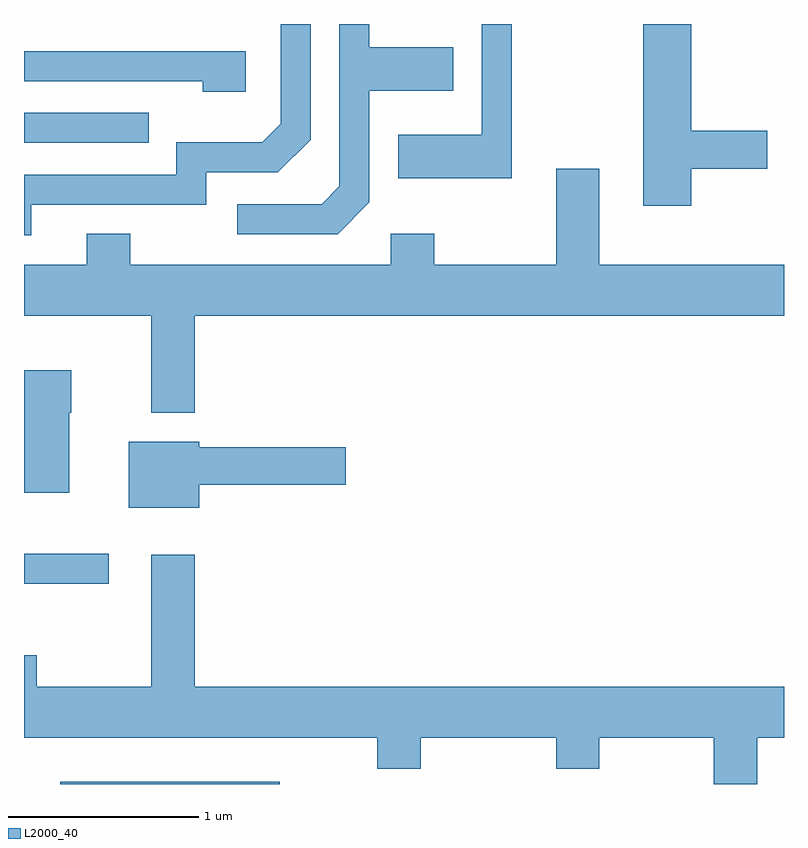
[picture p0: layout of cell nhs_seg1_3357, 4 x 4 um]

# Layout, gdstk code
import gdstk
lib = gdstk.Library(unit=1e-6, precision=1e-09)
def R(c, l, rs):  # rectangles x0, y0, x1, y1
    for r in rs: c.add(gdstk.rectangle(r[:2], r[2:], *l))
def P(c, l, *ps):  # polygons
    for p in ps: c.add(gdstk.Polygon(p, *l))
L2000_40 = (2000, 40)

nhs_seg1_3357 = lib.new_cell('nhs_seg1_3357')
R(nhs_seg1_3357, L2000_40, [(285.801,963.712,286.958,963.724), (285.611,964.766,286.058,964.924), (285.611,967.086,286.268,967.244)])
P(nhs_seg1_3357, L2000_40, [(287.429,966.774),(287.429,967.361),(287.869,967.361),(287.869,967.589),(287.429,967.589),(287.429,967.712),(287.271,967.712),(287.271,966.857),(287.179,966.764),(286.733,966.764),(286.733,966.606),(287.262,966.606)],
  [(289.124,966.951),(289.524,966.951),(289.524,967.149),(289.124,967.149),(289.124,967.712),(288.871,967.712),(288.871,966.756),(289.124,966.756)],
  [(288.179,967.712),(288.021,967.712),(288.021,967.129),(287.581,967.129),(287.581,966.901),(288.179,966.901)],
  [(285.649,966.761),(286.569,966.761),(286.569,966.931),(286.947,966.931),(287.119,967.104),(287.119,967.712),(286.961,967.712),(286.961,967.187),(286.864,967.089),(286.411,967.089),(286.411,966.919),(285.611,966.919),(285.611,966.601),(285.649,966.601)],
  [(286.779,967.569),(285.611,967.569),(285.611,967.411),(286.551,967.411),(286.551,967.356),(286.779,967.356)],
  [(286.169,966.609),(285.941,966.609),(285.941,966.444),(285.611,966.444),(285.611,966.176),(286.281,966.176),(286.281,965.666),(286.509,965.666),(286.509,966.176),(289.611,966.176),(289.611,966.444),(288.639,966.444),(288.639,966.949),(288.411,966.949),(288.411,966.444),(287.769,966.444),(287.769,966.609),(287.541,966.609),(287.541,966.444),(286.169,966.444)],
  [(285.849,965.665),(285.859,965.665),(285.859,965.889),(285.611,965.889),(285.611,965.246),(285.849,965.246)],
  [(286.534,965.286),(287.304,965.286),(287.304,965.484),(286.534,965.484),(286.534,965.514),(286.161,965.514),(286.161,965.166),(286.534,965.166)],
  [(289.469,963.956),(289.611,963.956),(289.611,964.224),(286.509,964.224),(286.509,964.919),(286.281,964.919),(286.281,964.224),(285.679,964.224),(285.679,964.389),(285.611,964.389),(285.611,963.956),(287.471,963.956),(287.471,963.791),(287.699,963.791),(287.699,963.956),(288.411,963.956),(288.411,963.791),(288.639,963.791),(288.639,963.956),(289.241,963.956),(289.241,963.712),(289.469,963.712)])

lib.write_gds('nhs_seg1_3357.gds')
